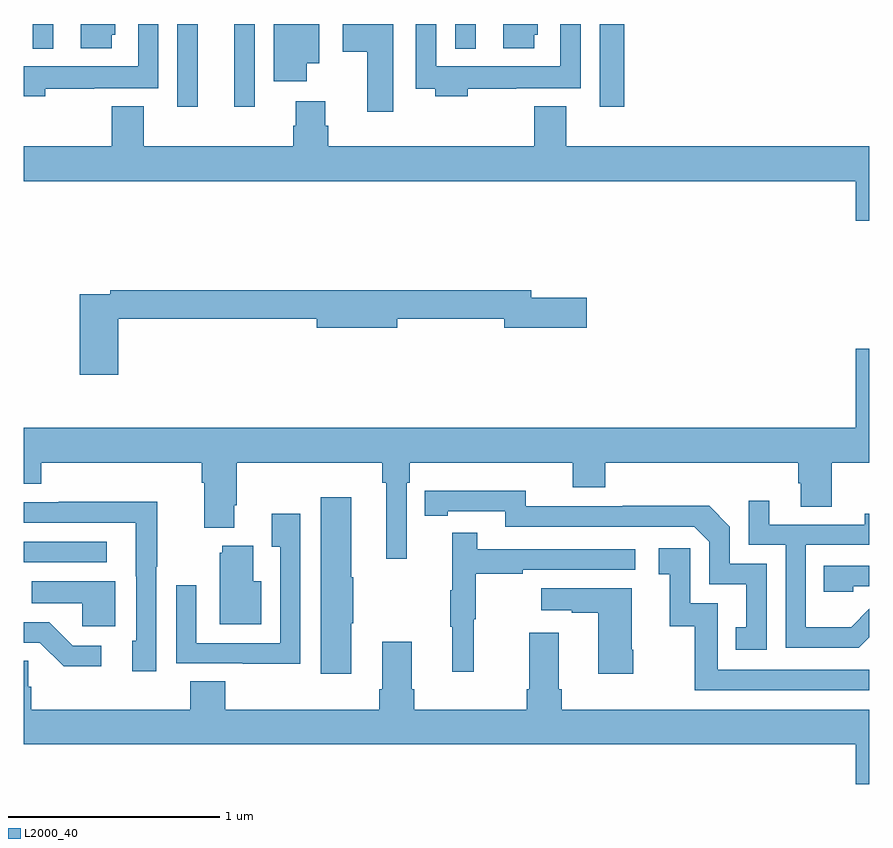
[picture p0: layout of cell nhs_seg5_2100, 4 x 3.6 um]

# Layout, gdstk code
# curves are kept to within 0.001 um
import gdstk
lib = gdstk.Library(unit=1e-6, precision=1e-09)
def R(c, l, rs):  # rectangles x0, y0, x1, y1
    for r in rs: c.add(gdstk.rectangle(r[:2], r[2:], *l))
def P(c, l, *ps):  # polygons
    for p in ps: c.add(gdstk.Polygon(p, *l))
L2000_40 = (2000, 40)

nhs_seg5_2100 = lib.new_cell('nhs_seg5_2100')
R(nhs_seg5_2100, L2000_40, [(233,892.254,233.392,892.35), (233.727,894.408,233.824,894.799), (233.996,894.408,234.093,894.799), (235.725,894.408,235.841,894.799), (233.043,894.683,233.14,894.799), (235.041,894.683,235.138,894.799)])
P(nhs_seg5_2100, L2000_40, [(234.34,894.614),(234.397,894.614),(234.397,894.799),(234.182,894.799),(234.182,894.528),(234.34,894.528)],
  [(234.748,894.799),(234.509,894.799),(234.509,894.667),(234.626,894.667),(234.626,894.384),(234.748,894.384)],
  [(235.1,894.492),(235.331,894.492),(235.331,894.494),(235.635,894.494),(235.635,894.799),(235.539,894.799),(235.539,894.598),(234.951,894.598),(234.951,894.799),(234.855,894.799),(234.855,894.492),(234.947,894.492),(234.947,894.458),(235.1,894.458)],
  [(233.416,894.747),(233.434,894.747),(233.434,894.799),(233.27,894.799),(233.27,894.684),(233.416,894.684)],
  [(235.414,894.747),(235.432,894.747),(235.432,894.799),(235.268,894.799),(235.268,894.684),(235.414,894.684)],
  [(233.102,894.492),(233.333,894.492),(233.333,894.494),(233.637,894.494),(233.637,894.799),(233.541,894.799),(233.541,894.598),(233,894.598),(233,894.458),(233.102,894.458)],
  [(237,894.22),(235.567,894.22),(235.567,894.409),(235.415,894.409),(235.415,894.22),(234.44,894.22),(234.44,894.318),(234.427,894.318),(234.427,894.433),(234.287,894.433),(234.287,894.318),(234.275,894.318),(234.275,894.22),(233.569,894.22),(233.569,894.409),(233.417,894.409),(233.417,894.22),(233,894.22),(233,894.056),(236.936,894.056),(236.936,893.868),(237,893.868)],
  [(233.447,893.404),(234.386,893.404),(234.386,893.362),(234.766,893.362),(234.766,893.404),(235.274,893.404),(235.274,893.362),(235.663,893.362),(235.663,893.504),(235.402,893.504),(235.402,893.54),(233.41,893.54),(233.41,893.52),(233.264,893.52),(233.264,893.139),(233.447,893.139)],
  [(234.813,892.628),(234.827,892.628),(234.827,892.724),(235.598,892.724),(235.598,892.607),(235.751,892.607),(235.751,892.724),(236.663,892.724),(236.663,892.626),(236.675,892.626),(236.675,892.516),(236.823,892.516),(236.823,892.724),(237,892.724),(237,893.263),(236.936,893.263),(236.936,892.888),(233,892.888),(233,892.625),(233.084,892.625),(233.084,892.724),(233.843,892.724),(233.843,892.628),(233.855,892.628),(233.855,892.415),(233.995,892.415),(233.995,892.522),(234.008,892.522),(234.008,892.724),(234.697,892.724),(234.697,892.628),(234.716,892.628),(234.716,892.269),(234.813,892.269)],
  [(236.514,892.245),(236.34,892.245),(236.34,892.422),(236.242,892.52),(235.834,892.52),(235.834,892.518),(235.374,892.518),(235.374,892.591),(234.898,892.59),(234.898,892.474),(235.006,892.474),(235.006,892.494),(235.278,892.494),(235.278,892.422),(236.172,892.422),(236.244,892.35),(236.244,892.149),(236.417,892.149),(236.417,891.945),(236.368,891.945),(236.368,891.84),(236.514,891.84)],
  [(234.55,891.964),(234.558,891.964),(234.558,892.181),(234.55,892.181),(234.55,892.561),(234.404,892.561),(234.404,891.726),(234.55,891.726)],
  [(237,891.899),(237,892.032),(236.914,891.946),(236.7,891.946),(236.7,892.335),(237,892.335),(237,892.483),(236.978,892.483),(236.978,892.431),(236.527,892.431),(236.527,892.543),(236.43,892.543),(236.43,892.335),(236.604,892.335),(236.604,891.849),(236.95,891.849)],
  [(233.628,892.231),(233.631,892.231),(233.631,892.538),(233.167,892.538),(233.167,892.536),(233,892.536),(233,892.44),(233.531,892.44),(233.531,892.186),(233.532,892.186),(233.532,891.882),(233.513,891.882),(233.513,891.738),(233.628,891.738)],
  [(234.309,892.483),(234.173,892.483),(234.173,892.327),(234.213,892.327),(234.213,891.87),(233.817,891.87),(233.817,892.144),(233.721,892.144),(233.721,891.774),(234.037,891.774),(234.037,891.773),(234.309,891.773)],
  [(235.13,891.984),(235.138,891.984),(235.138,892.198),(235.361,892.198),(235.361,892.218),(235.894,892.218),(235.894,892.314),(235.145,892.314),(235.145,892.393),(235.028,892.393),(235.028,892.121),(235.017,892.121),(235.017,891.947),(235.028,891.947),(235.028,891.735),(235.13,891.735)],
  [(234.124,892.162),(234.085,892.162),(234.085,892.33),(233.939,892.33),(233.939,892.299),(233.927,892.299),(233.927,891.959),(234.124,891.959)],
  [(237,891.744),(236.283,891.744),(236.283,892.059),(236.154,892.059),(236.154,892.318),(236.004,892.318),(236.004,892.197),(236.057,892.197),(236.057,891.951),(236.175,891.951),(236.175,891.648),(237,891.648)],
  [(236.925,892.14),(237,892.14),(237,892.236),(236.785,892.236),(236.785,892.113),(236.925,892.113)],
  [(233.434,892.162),(233.038,892.162),(233.038,892.058),(233.277,892.058),(233.277,891.95),(233.434,891.95)],
  [(235.884,891.838),(235.876,891.838),(235.876,892.129),(235.449,892.129),(235.449,892.025),(235.592,892.025),(235.592,892.015),(235.718,892.015),(235.718,891.726),(235.884,891.726)],
  [(233.368,891.858),(233.233,891.858),(233.122,891.969),(233,891.969),(233,891.873),(233.076,891.873),(233.189,891.761),(233.368,891.761)],
  [(237,891.556),(235.544,891.556),(235.544,891.652),(235.531,891.652),(235.531,891.919),(235.391,891.919),(235.391,891.652),(235.379,891.652),(235.379,891.556),(234.848,891.556),(234.848,891.652),(234.835,891.652),(234.835,891.877),(234.695,891.877),(234.695,891.652),(234.683,891.652),(234.683,891.556),(233.954,891.556),(233.954,891.689),(233.789,891.689),(233.789,891.556),(233.036,891.556),(233.036,891.665),(233.022,891.665),(233.022,891.788),(233,891.788),(233,891.392),(236.936,891.392),(236.936,891.204),(237,891.204)])

lib.write_gds('nhs_seg5_2100.gds')
